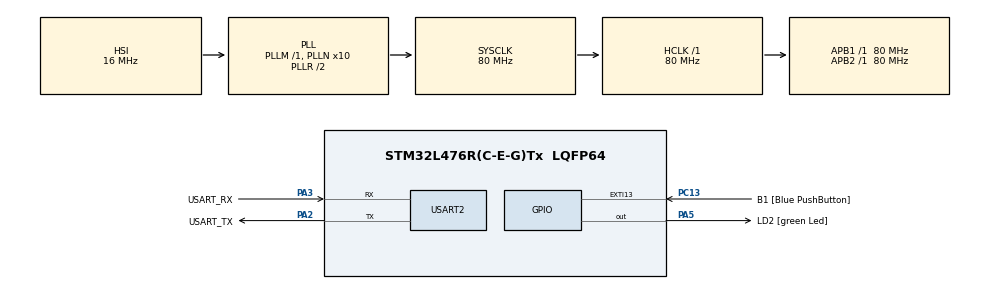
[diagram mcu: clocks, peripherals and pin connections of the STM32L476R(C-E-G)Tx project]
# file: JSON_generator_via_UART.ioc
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Mcu.Family=STM32L4
Mcu.Name=STM32L476R(C-E-G)Tx
Mcu.Package=LQFP64
NVIC.EXTI15_10_IRQn=true\:1\:0\:true\:false\:true\:true\:true\:true
NVIC.PriorityGroup=NVIC_PRIORITYGROUP_4
PA13\ (JTMS-SWDIO).GPIO_Label=TMS
PA13\ (JTMS-SWDIO).Mode=Serial_Wire
PA13\ (JTMS-SWDIO).Signal=SYS_JTMS-SWDIO
PA14\ (JTCK-SWCLK).GPIO_Label=TCK
PA14\ (JTCK-SWCLK).Mode=Serial_Wire
PA14\ (JTCK-SWCLK).Signal=SYS_JTCK-SWCLK
PA2.GPIO_Label=USART_TX
PA2.GPIO_Mode=GPIO_MODE_AF_PP
PA2.GPIO_PuPd=GPIO_NOPULL
PA2.GPIO_Speed=GPIO_SPEED_FREQ_VERY_HIGH
PA2.Mode=Asynchronous
PA2.Signal=USART2_TX
PA3.GPIO_Label=USART_RX
PA3.GPIO_Mode=GPIO_MODE_AF_PP
PA3.GPIO_PuPd=GPIO_NOPULL
PA3.GPIO_Speed=GPIO_SPEED_FREQ_VERY_HIGH
PA3.Mode=Asynchronous
PA3.Signal=USART2_RX
PA5.GPIO_Label=LD2 [green Led]
PA5.GPIO_ModeDefaultOutputPP=GPIO_MODE_OUTPUT_PP
PA5.GPIO_PuPd=GPIO_NOPULL
PA5.GPIO_Speed=GPIO_SPEED_FREQ_LOW
PA5.Signal=GPIO_Output
PB3\ (JTDO-TRACESWO).GPIO_Label=SWO
PB3\ (JTDO-TRACESWO).Signal=SYS_JTDO-SWO
PC13.GPIO_Label=B1 [Blue PushButton]
PC13.GPIO_ModeDefaultEXTI=GPIO_MODE_IT_FALLING
PC13.GPIO_PuPd=GPIO_NOPULL
PC13.Signal=GPXTI13
PC14-OSC32_IN\ (PC14).Mode=LSE-External-Oscillator
PC14-OSC32_IN\ (PC14).Signal=RCC_OSC32_IN
PC15-OSC32_OUT\ (PC15).Mode=LSE-External-Oscillator
PC15-OSC32_OUT\ (PC15).Signal=RCC_OSC32_OUT
PH0-OSC_IN\ (PH0).Signal=RCC_OSC_IN
PH1-OSC_OUT\ (PH1).Signal=RCC_OSC_OUT
ProjectManager.HeapSize=0x200
ProjectManager.StackSize=0x400
ProjectManager.TargetToolchain=STM32CubeIDE
RCC.ADCFreq_Value=64000000
RCC.AHBFreq_Value=80000000
RCC.APB1Freq_Value=80000000
RCC.APB1TimFreq_Value=80000000
RCC.APB2Freq_Value=80000000
RCC.APB2TimFreq_Value=80000000
RCC.CortexFreq_Value=80000000
RCC.HCLKFreq_Value=80000000
RCC.HSE_VALUE=8000000
RCC.HSI_VALUE=16000000
RCC.MSI_VALUE=4000000
RCC.PLLN=10
RCC.PLLSourceVirtual=RCC_PLLSOURCE_HSI
RCC.PREFETCH_ENABLE=1
RCC.SYSCLKFreq_VALUE=80000000
RCC.SYSCLKSource=RCC_SYSCLKSOURCE_PLLCLK
RCC.USBFreq_Value=64000000
RCC.VCOOutputFreq_Value=160000000
USART2.VirtualMode-Asynchronous=VM_ASYNC
board=NUCLEO-L476RG

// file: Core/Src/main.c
/* USER CODE BEGIN Header */
/**
  ******************************************************************************
  * @file           : main.c
  * @brief          : Main program body
  ******************************************************************************
  * @attention
  *
  * Copyright (c) 2023 STMicroelectronics.
  * All rights reserved.
  *
  * This software is licensed under terms that can be found in the LICENSE file
  * in the root directory of this software component.
  * If no LICENSE file comes with this software, it is provided AS-IS.
  *
  ******************************************************************************
  */
/* USER CODE END Header */
#include "main.h"
#include "usart.h"
#include "gpio.h"

/* USER CODE BEGIN Includes */
#include <stdbool.h>
#include <string.h>

#include "json_generator.h"
/* USER CODE END Includes */

/* USER CODE BEGIN PD */
#define JSON_BUFFER_SIZE 256
/* USER CODE END PD */

/* USER CODE BEGIN PV */
bool B1_is_clicked = false;
/* USER CODE END PV */

void SystemClock_Config(void);

int main(void)
{

  /* MCU Configuration--------------------------------------------------------*/

  /* Reset of all peripherals, Initializes the Flash interface and the Systick. */
  HAL_Init();

  /* Configure the system clock */
  SystemClock_Config();

  /* Initialize all configured peripherals */
  MX_GPIO_Init();
  MX_USART2_UART_Init();
  /* USER CODE BEGIN 2 */
  char json_buffer[JSON_BUFFER_SIZE];
  json_generator_t generator;
  /* USER CODE END 2 */

  /* Infinite loop */
  /* USER CODE BEGIN WHILE */
  while (1)
  {
	  if (B1_is_clicked == true)
	  {
		  B1_is_clicked = false;

		  json_init(&generator, json_buffer, JSON_BUFFER_SIZE);

		  json_open_object(&generator);
		  json_add_string(&generator, "event", "button_clicked");
		  json_add_integer(&generator, "number", 1);
		  json_close_object(&generator);

		  json_end(&generator);

		  strcat(json_buffer, "\r\n");
		  HAL_UART_Transmit(&huart2, (uint8_t *)json_buffer, strlen(json_buffer), 100);
	  }

    /* USER CODE END WHILE */

  }
}

void SystemClock_Config(void)
{
  RCC_OscInitTypeDef RCC_OscInitStruct = {0};
  RCC_ClkInitTypeDef RCC_ClkInitStruct = {0};

  /** Configure the main internal regulator output voltage
  */
  if (HAL_PWREx_ControlVoltageScaling(PWR_REGULATOR_VOLTAGE_SCALE1) != HAL_OK)
  {
    Error_Handler();
  }

  /** Initializes the RCC Oscillators according to the specified parameters
  * in the RCC_OscInitTypeDef structure.
  */
  RCC_OscInitStruct.OscillatorType = RCC_OSCILLATORTYPE_HSI;
  RCC_OscInitStruct.HSIState = RCC_HSI_ON;
  RCC_OscInitStruct.HSICalibrationValue = RCC_HSICALIBRATION_DEFAULT;
  RCC_OscInitStruct.PLL.PLLState = RCC_PLL_ON;
  RCC_OscInitStruct.PLL.PLLSource = RCC_PLLSOURCE_HSI;
  RCC_OscInitStruct.PLL.PLLM = 1;
  RCC_OscInitStruct.PLL.PLLN = 10;
  RCC_OscInitStruct.PLL.PLLP = RCC_PLLP_DIV7;
  RCC_OscInitStruct.PLL.PLLQ = RCC_PLLQ_DIV2;
  RCC_OscInitStruct.PLL.PLLR = RCC_PLLR_DIV2;
  if (HAL_RCC_OscConfig(&RCC_OscInitStruct) != HAL_OK)
  {
    Error_Handler();
  }

  /** Initializes the CPU, AHB and APB buses clocks
  */
  RCC_ClkInitStruct.ClockType = RCC_CLOCKTYPE_HCLK|RCC_CLOCKTYPE_SYSCLK
                              |RCC_CLOCKTYPE_PCLK1|RCC_CLOCKTYPE_PCLK2;
  RCC_ClkInitStruct.SYSCLKSource = RCC_SYSCLKSOURCE_PLLCLK;
  RCC_ClkInitStruct.AHBCLKDivider = RCC_SYSCLK_DIV1;
  RCC_ClkInitStruct.APB1CLKDivider = RCC_HCLK_DIV1;
  RCC_ClkInitStruct.APB2CLKDivider = RCC_HCLK_DIV1;

  if (HAL_RCC_ClockConfig(&RCC_ClkInitStruct, FLASH_LATENCY_4) != HAL_OK)
  {
    Error_Handler();
  }
}

/* USER CODE BEGIN 4 */
void HAL_GPIO_EXTI_Callback(uint16_t GPIO_Pin)
{
	if (GPIO_Pin == B1_Pin)
	{
		B1_is_clicked = true;
	}
}
/* USER CODE END 4 */

void Error_Handler(void)
{
  __disable_irq();
  while (1)
  {
  }
}
